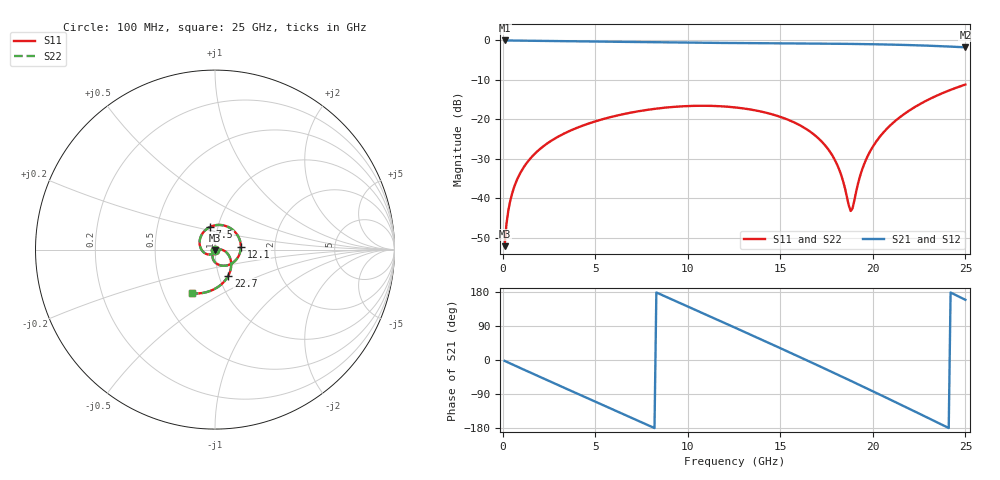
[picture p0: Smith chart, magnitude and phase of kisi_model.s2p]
! kisi A_s4_d300_ap600: fast channel model (formula impedances, via model), up to 25 GHz
# Hz S RI R 50
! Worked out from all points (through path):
!   250 points, 100 MHz to 25 GHz, reference 50 ohm
!   highest |S21| = -0.01 dB at 100 MHz (marker M1); lowest = -1.8 dB at 25 GHz (marker M2)
!   group delay of S21, straight-line fit = 61.9 ps
!   lowest |S11| = -52.1 dB at 100 MHz (marker M3), VSWR 1.00, Z = 50.1 - j0.243 ohm
!   |S11| at or under -10 dB: start of sweep to end of sweep
!   |S22| runs from -52.1 to -11.2 dB; largest |S21 - S12| = 0
!   S11 on the Smith chart (normalised r, x): 100 MHz: 1.00, -0.00; 7.5 GHz: 0.91, +0.23; 12.1 GHz: 1.34, +0.05; 22.7 GHz: 1.11, -0.33; 25 GHz: 0.69, -0.37
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1e8  0.000514 -0.00243  0.9978 -0.0399  0.9978 -0.0399  0.000514 -0.00243
2e8  0.000104 -0.00474  0.9947 -0.0791  0.9947 -0.0791  0.000104 -0.00474
4e8  -0.00129 -0.00912  0.9842 -0.1563  0.9842 -0.1563  -0.00129 -0.00912
1.1e9  -0.0112 -0.0213  0.9025 -0.4121  0.9025 -0.4121  -0.0112 -0.0213
2.8e9  -0.0524 -0.0224  0.4624 -0.8659  0.4624 -0.8659  -0.0524 -0.0224
4.3e9  -0.0819 0.0137  -0.0792 -0.9691  -0.0792 -0.9691  -0.0819 0.0137
5.8e9  -0.0801 0.0703  -0.5846 -0.7653  -0.5846 -0.7653  -0.0801 0.0703
7.5e9  -0.0294 0.1253  -0.9174 -0.2562  -0.9174 -0.2562  -0.0294 0.1253
8.4e9  0.0133 0.1371  -0.9448 0.0659  -0.9448 0.0659  0.0133 0.1371
1.04e10  0.1093 0.1005  -0.6313 0.6909  -0.6313 0.6909  0.1093 0.1005
1.21e10  0.144 0.0167  -0.0847 0.924  -0.0847 0.924  0.144 0.0167
1.26e10  0.1411 -0.01  0.0925 0.9213  0.0925 0.9213  0.1411 -0.01
1.37e10  0.1145 -0.0602  0.4604 0.7987  0.4604 0.7987  0.1145 -0.0602
1.49e10  0.0649 -0.0884  0.7662 0.5059  0.7662 0.5059  0.0649 -0.0884
1.67e10  -0.00263 -0.0675  0.9058 -0.1098  0.9058 -0.1098  -0.00263 -0.0675
1.8e10  -0.012 -0.0264  0.7299 -0.5389  0.7299 -0.5389  -0.012 -0.0264
1.88e10  0.00313 -0.00618  0.5207 -0.7378  0.5207 -0.7378  0.00313 -0.00618
1.97e10  0.0336 -0.000169  0.2232 -0.8687  0.2232 -0.8687  0.0336 -0.000169
2.09e10  0.0762 -0.0309  -0.2083 -0.8612  -0.2083 -0.8612  0.0762 -0.0309
2.27e10  0.0737 -0.1461  -0.7158 -0.4806  -0.7158 -0.4806  0.0737 -0.1461
2.38e10  0.00268 -0.2168  -0.8352 -0.1121  -0.8352 -0.1121  0.00268 -0.2168
2.5e10  -0.1294 -0.244  -0.7623 0.2947  -0.7623 0.2947  -0.1294 -0.244
